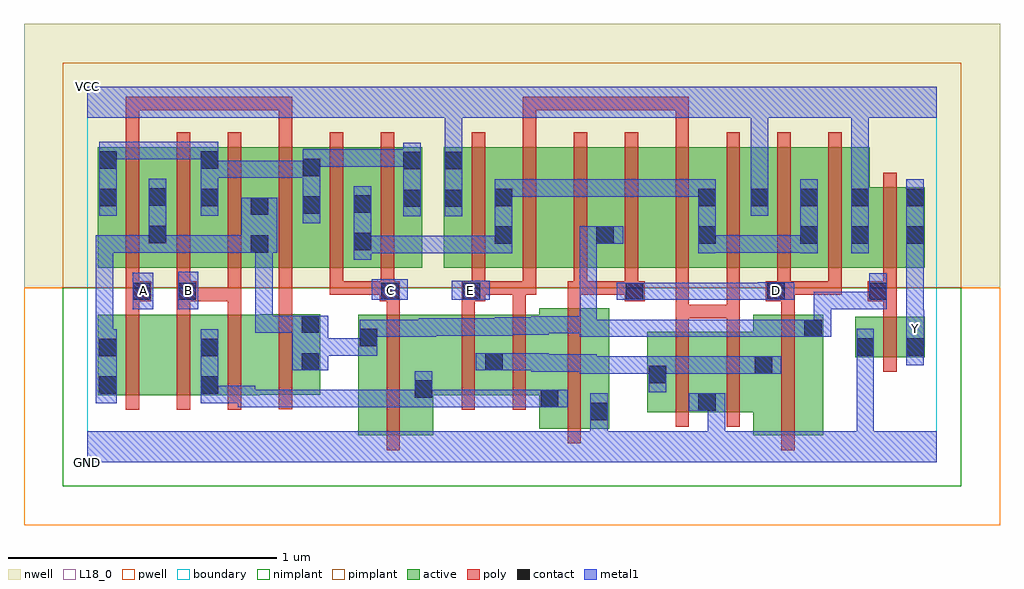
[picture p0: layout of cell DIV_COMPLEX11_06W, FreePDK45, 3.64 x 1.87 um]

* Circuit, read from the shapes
.subckt DIV_COMPLEX11_06W A B C D E GND VCC Y
M1 n1 A n2 VSUBS nfet w=0.3u l=0.05u
M2 n3 B n1 VSUBS nfet w=0.3u l=0.05u
M3 n4 B n3 VSUBS nfet w=0.3u l=0.05u
M4 n2 A n4 VSUBS nfet w=0.3u l=0.05u
M5 n3 C n2 VSUBS nfet w=0.45u l=0.05u
M6 n5 E n3 VSUBS nfet w=0.3u l=0.05u m=2
M7 GND D n3 VSUBS nfet w=0.45u l=0.05u
M8 GND E n5 VSUBS nfet w=0.3u l=0.05u m=2
M9 n2 D n5 VSUBS nfet w=0.45u l=0.05u
M10 Y n2 GND VSUBS nfet w=0.15u l=0.05u
M11 n2 A n6 n7 pfet w=0.45u l=0.05u m=2
M12 n6 B n2 n7 pfet w=0.45u l=0.05u m=2
M13 n8 C n6 n7 pfet w=0.45u l=0.05u m=2
M14 n8 E VCC n7 pfet w=0.45u l=0.05u m=2
M15 n9 E n8 n7 pfet w=0.45u l=0.05u
M16 n2 D n9 n7 pfet w=0.45u l=0.05u
M17 n10 D n2 n7 pfet w=0.45u l=0.05u
M18 n8 E n10 n7 pfet w=0.45u l=0.05u
M19 n8 D VCC n7 pfet w=0.45u l=0.05u m=2
M20 Y n2 VCC n7 pfet w=0.3u l=0.05u
.ends

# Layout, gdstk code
import gdstk
lib = gdstk.Library(unit=1e-6, precision=1e-09)
def R(c, l, rs):  # rectangles x0, y0, x1, y1
    for r in rs: c.add(gdstk.rectangle(r[:2], r[2:], *l))
def A(c, l, x, y, w, h, nx, ny, dx, dy):  # array of equal rectangles
    R(c, l, [(x+i*dx, y+j*dy, x+i*dx+w, y+j*dy+h) for i in range(nx) for j in range(ny)])
active = (1, 0)
pwell = (2, 0)
nwell = (3, 0)
nimplant = (4, 0)
pimplant = (5, 0)
poly = (9, 0)
contact = (10, 0)
metal1 = (11, 0)
L18_0 = (18, 0)
boundary = (235, 0)

div_complex11_06w = lib.new_cell('DIV_COMPLEX11_06W')
A(div_complex11_06w, active, 0.04, 0.725, 0.075, 0.45, 3, 1, 0.38, 0)
R(div_complex11_06w, active, [(1.012,0.1,1.292,0.55), (2.485,0.1,2.745,0.55), (1.687,0.125,1.947,0.575), (1.872,0.132,1.947,0.575), (1.012,0.145,1.087,0.55), (2.67,0.145,2.745,0.55), (2.09,0.187,2.35,0.487), (2.275,0.187,2.56,0.487), (2.275,0.187,2.35,0.392), (1.217,0.2,1.292,0.405), (1.687,0.2,1.762,0.405), (2.09,0.2,2.165,0.487), (2.485,0.2,2.56,0.4), (0.04,0.25,0.265,0.55), (0.04,0.25,0.115,0.55), (0.265,0.25,0.495,0.55), (0.42,0.25,0.645,0.55), (0.42,0.25,0.495,0.55), (1.217,0.25,1.555,0.55), (1.48,0.25,1.762,0.55), (0.645,0.252,0.87,0.552), (0.795,0.295,0.87,0.552), (1.48,0.295,1.555,0.412), (2.865,0.392,2.94,0.542), (2.865,0.392,3.125,0.542), (3.05,0.392,3.125,0.542), (0.04,0.725,0.3,1.175), (0.225,0.725,0.495,1.175), (0.225,0.725,0.3,1.07), (0.42,0.725,0.68,1.175), (0.605,0.725,0.875,1.175), (0.605,0.725,0.68,1.07), (0.8,0.725,1.065,1.175), (0.99,0.725,1.25,1.175), (0.99,0.725,1.065,1.07), (1.33,0.725,1.59,1.175), (1.515,0.725,1.745,1.175), (1.515,0.725,1.59,1.165), (1.745,0.725,1.97,1.175), (1.895,0.725,2.125,1.175), (1.895,0.725,1.97,1.07), (2.125,0.725,2.35,1.175), (2.275,0.725,2.35,1.167), (2.275,0.725,2.545,1.175), (2.47,0.725,2.73,1.175), (2.655,0.725,2.92,1.175), (2.655,0.725,2.73,1.167), (2.845,0.725,3.125,1.025), (2.845,0.725,2.92,1.175), (3.05,0.725,3.125,1.025), (1.175,0.852,1.25,1.175), (1.33,0.852,1.405,1.175), (2.47,0.852,2.545,1.175)])
R(div_complex11_06w, pwell, [(-0.235,-0.235,3.405,0.65)])
R(div_complex11_06w, nwell, [(-0.235,0.65,3.405,1.635)])
R(div_complex11_06w, nimplant, [(-0.09,-0.09,3.26,0.65)])
R(div_complex11_06w, pimplant, [(-0.09,0.65,3.26,1.49)])
A(div_complex11_06w, poly, 0.145, 0.195, 0.05, 0.41, 3, 1, 0.19, 0)
A(div_complex11_06w, poly, 0.145, 0.555, 0.05, 0.095, 3, 1, 0.19, 0)
A(div_complex11_06w, poly, 0.715, 0.625, 0.05, 0.095, 3, 1, 0.19, 0)
A(div_complex11_06w, poly, 1.435, 0.625, 0.05, 0.095, 4, 1, 0.19, 0)
A(div_complex11_06w, poly, 0.145, 0.67, 0.05, 0.56, 6, 1, 0.19, 0)
A(div_complex11_06w, poly, 1.435, 0.67, 0.05, 0.56, 8, 1, 0.19, 0)
R(div_complex11_06w, poly, [(1.117,0.045,1.167,0.605), (2.59,0.045,2.64,0.605), (1.792,0.07,1.842,0.63), (2.195,0.132,2.245,0.542), (2.385,0.132,2.435,0.542), (1.397,0.195,1.447,0.605), (1.587,0.195,1.637,0.605), (0.715,0.197,0.765,0.607), (2.97,0.337,3.02,0.597), (2.195,0.492,2.245,0.587), (2.385,0.492,2.435,0.587), (2.195,0.537,2.245,0.587), (2.195,0.537,2.245,0.72), (2.195,0.537,2.435,0.587), (2.385,0.537,2.435,0.587), (2.385,0.537,2.435,0.587), (2.385,0.537,2.435,0.587), (2.385,0.537,2.435,0.72), (2.97,0.547,3.02,0.65), (1.117,0.555,1.167,0.65), (1.397,0.555,1.447,0.65), (1.587,0.555,1.637,0.675), (2.59,0.555,2.64,0.65), (0.715,0.557,0.765,0.675), (1.792,0.58,1.842,0.675), (0.145,0.6,0.24,0.675), (0.335,0.6,0.41,0.675), (0.36,0.6,0.575,0.65), (0.525,0.6,0.575,0.65), (0.525,0.6,0.575,0.65), (0.525,0.6,0.575,0.65), (0.525,0.6,0.575,0.72), (1.092,0.6,1.167,0.675), (1.397,0.6,1.485,0.675), (2.005,0.6,2.08,0.675), (2.532,0.6,2.64,0.675), (2.912,0.6,3.02,0.675), (0.145,0.625,0.195,0.72), (0.335,0.625,0.385,0.72), (0.715,0.625,0.765,0.675), (0.905,0.625,0.955,0.675), (0.905,0.625,0.955,0.675), (0.905,0.625,0.955,0.675), (0.905,0.625,1.142,0.675), (1.435,0.625,1.485,0.675), (1.435,0.625,1.485,0.675), (1.435,0.625,1.637,0.675), (1.587,0.625,1.675,0.675), (1.792,0.625,1.865,0.675), (1.815,0.625,1.865,0.675), (1.815,0.625,1.865,0.675), (1.815,0.625,2.055,0.675), (2.575,0.625,2.625,0.72), (2.59,0.625,2.815,0.675), (2.765,0.625,2.815,0.72), (2.765,0.625,2.815,0.675), (2.765,0.625,2.815,0.675), (2.765,0.625,2.815,0.675), (2.97,0.625,3.02,0.72), (2.97,0.67,3.02,1.08), (0.145,1.18,0.195,1.362), (0.715,1.18,0.765,1.362), (1.625,1.18,1.675,1.362), (2.195,1.18,2.245,1.362), (0.145,1.312,0.195,1.362), (0.145,1.312,0.195,1.362), (0.145,1.312,0.195,1.362), (0.145,1.312,0.41,1.362), (0.36,1.312,0.41,1.362), (0.36,1.312,0.41,1.362), (0.36,1.312,0.41,1.362), (0.36,1.312,0.542,1.362), (0.492,1.312,0.542,1.362), (0.492,1.312,0.765,1.362), (0.715,1.312,0.765,1.362), (0.715,1.312,0.765,1.362), (0.715,1.312,0.765,1.362), (1.625,1.312,1.675,1.362), (1.625,1.312,1.675,1.362), (1.625,1.312,1.675,1.362), (1.625,1.312,1.807,1.362), (1.757,1.312,1.807,1.362), (1.757,1.312,1.997,1.362), (1.947,1.312,1.997,1.362), (1.947,1.312,1.997,1.362), (1.947,1.312,1.997,1.362), (1.947,1.312,2.245,1.362), (2.195,1.312,2.245,1.362), (2.195,1.312,2.245,1.362), (2.195,1.312,2.245,1.362)])
A(div_complex11_06w, contact, 1.52, 0.815, 0.065, 0.065, 4, 1, 0.38, 0)
R(div_complex11_06w, contact, [(1.877,0.157,1.942,0.222), (2.28,0.192,2.345,0.257), (1.692,0.205,1.757,0.27), (1.222,0.24,1.287,0.305), (0.045,0.255,0.11,0.32), (0.425,0.255,0.49,0.32), (2.095,0.295,2.16,0.36), (2.49,0.33,2.555,0.395), (0.8,0.342,0.865,0.407), (1.485,0.342,1.55,0.407), (0.045,0.395,0.11,0.46), (0.425,0.395,0.49,0.46), (2.87,0.397,2.935,0.462), (3.055,0.397,3.12,0.462), (1.017,0.432,1.082,0.497), (2.675,0.467,2.74,0.532), (0.8,0.482,0.865,0.547), (0.17,0.605,0.235,0.67), (0.34,0.605,0.405,0.67), (1.097,0.605,1.162,0.67), (1.402,0.605,1.467,0.67), (2.01,0.605,2.075,0.67), (2.537,0.605,2.602,0.67), (2.917,0.605,2.982,0.67), (0.61,0.782,0.675,0.847), (0.995,0.79,1.06,0.855), (2.85,0.815,2.915,0.88), (3.055,0.815,3.12,0.88), (0.23,0.817,0.295,0.882), (0.61,0.922,0.675,0.987), (0.805,0.927,0.87,0.992), (0.995,0.93,1.06,0.995), (1.18,0.952,1.245,1.017), (1.335,0.952,1.4,1.017), (0.045,0.955,0.11,1.02), (0.425,0.955,0.49,1.02), (1.52,0.955,1.585,1.02), (2.28,0.955,2.345,1.02), (2.475,0.955,2.54,1.02), (2.66,0.955,2.725,1.02), (2.85,0.955,2.915,1.02), (3.055,0.955,3.12,1.02), (0.23,0.957,0.295,1.022), (0.805,1.067,0.87,1.132), (1.18,1.092,1.245,1.157), (1.335,1.092,1.4,1.157), (0.045,1.095,0.11,1.16), (0.425,1.095,0.49,1.16)])
R(div_complex11_06w, metal1, [(0,0,3.17,0.115), (1.877,0.05,1.942,0.115), (1.877,0.05,1.942,0.115), (1.877,0.05,1.942,0.187), (2.315,0.05,2.38,0.115), (2.315,0.05,2.38,0.115), (2.315,0.05,2.38,0.115), (2.315,0.05,2.38,0.115), (2.315,0.05,2.38,0.257), (2.87,0.05,2.935,0.115), (2.87,0.05,2.935,0.115), (2.87,0.05,2.935,0.115), (2.87,0.05,2.935,0.115), (2.87,0.05,2.935,0.427), (1.877,0.122,1.942,0.257), (2.245,0.192,2.38,0.257), (0.562,0.205,0.832,0.27), (0.562,0.205,0.627,0.285), (0.767,0.205,0.832,0.27), (0.767,0.205,0.832,0.27), (0.767,0.205,0.832,0.27), (0.767,0.205,0.97,0.27), (0.905,0.205,0.97,0.27), (0.905,0.205,1.107,0.27), (1.042,0.205,1.107,0.27), (1.042,0.205,1.107,0.27), (1.042,0.205,1.107,0.27), (1.042,0.205,1.287,0.27), (1.222,0.205,1.287,0.27), (1.222,0.205,1.287,0.27), (1.222,0.205,1.287,0.34), (1.222,0.205,1.585,0.27), (1.52,0.205,1.585,0.27), (1.52,0.205,1.585,0.27), (1.52,0.205,1.585,0.27), (1.52,0.205,1.722,0.27), (1.657,0.205,1.722,0.27), (1.657,0.205,1.722,0.27), (1.657,0.205,1.792,0.27), (0.032,0.22,0.11,0.495), (0.425,0.22,0.49,0.495), (0.425,0.22,0.49,0.285), (0.425,0.22,0.49,0.285), (0.425,0.22,0.627,0.285), (2.095,0.26,2.16,0.395), (1.837,0.33,1.93,0.395), (1.837,0.33,1.902,0.402), (1.865,0.33,1.93,0.395), (1.865,0.33,2.155,0.395), (2.09,0.33,2.155,0.395), (2.09,0.33,2.16,0.395), (2.095,0.33,2.292,0.395), (2.227,0.33,2.292,0.395), (2.227,0.33,2.297,0.395), (2.232,0.33,2.297,0.395), (2.232,0.33,2.43,0.395), (2.365,0.33,2.43,0.395), (2.365,0.33,2.52,0.395), (2.455,0.33,2.59,0.395), (1.657,0.337,1.722,0.402), (1.657,0.337,1.722,0.402), (1.657,0.337,1.902,0.402), (1.657,0.337,1.722,0.407), (0.765,0.342,0.9,0.547), (1.45,0.342,1.585,0.407), (1.52,0.342,1.722,0.407), (2.87,0.362,2.935,0.427), (2.87,0.362,2.935,0.427), (2.87,0.362,2.935,0.497), (3.055,0.362,3.12,0.497), (0.835,0.397,0.97,0.462), (0.905,0.397,0.97,0.462), (0.905,0.397,1.082,0.462), (1.017,0.397,1.082,0.532), (0.032,0.43,0.097,0.847), (3.055,0.432,3.12,0.497), (3.055,0.432,3.122,0.567), (1.017,0.467,1.15,0.532), (1.085,0.467,1.15,0.532), (1.085,0.467,1.287,0.532), (1.222,0.467,1.287,0.532), (1.222,0.467,1.302,0.532), (1.237,0.467,1.302,0.537), (1.837,0.467,2.155,0.532), (1.837,0.467,1.902,0.545), (2.09,0.467,2.155,0.532), (2.09,0.467,2.155,0.532), (2.09,0.467,2.155,0.532), (2.09,0.467,2.292,0.532), (2.227,0.467,2.292,0.532), (2.227,0.467,2.297,0.532), (2.232,0.467,2.297,0.532), (2.232,0.467,2.43,0.532), (2.365,0.467,2.43,0.532), (2.365,0.467,2.567,0.532), (2.502,0.467,2.567,0.532), (2.502,0.467,2.567,0.532), (2.502,0.467,2.567,0.532), (2.502,0.467,2.705,0.532), (2.64,0.467,2.775,0.532), (2.71,0.467,2.775,0.635), (1.237,0.472,1.585,0.537), (1.52,0.472,1.585,0.537), (1.52,0.472,1.585,0.537), (1.52,0.472,1.585,0.54), (1.52,0.475,1.722,0.54), (1.657,0.475,1.722,0.545), (1.657,0.48,1.722,0.545), (1.657,0.48,1.722,0.545), (1.657,0.48,1.902,0.545), (1.837,0.48,1.902,0.545), (1.837,0.48,1.902,0.545), (1.837,0.48,1.902,0.545), (1.837,0.48,1.902,0.545), (1.837,0.48,1.902,0.88), (0.627,0.482,0.692,0.547), (0.627,0.482,0.83,0.547), (0.627,0.482,0.692,0.847), (0.765,0.482,0.83,0.547), (0.765,0.482,0.83,0.547), (3.055,0.502,3.12,0.845), (0.17,0.57,0.247,0.707), (0.34,0.57,0.415,0.71), (2.71,0.57,2.775,0.635), (2.71,0.57,2.775,0.635), (2.71,0.57,2.775,0.635), (2.71,0.57,2.982,0.635), (2.917,0.57,2.982,0.635), (2.917,0.57,2.982,0.635), (2.917,0.57,2.982,0.705), (1.062,0.605,1.197,0.682), (1.36,0.605,1.502,0.677), (1.975,0.605,2.11,0.67), (2.045,0.605,2.11,0.67), (2.045,0.605,2.11,0.67), (2.045,0.605,2.292,0.67), (2.227,0.605,2.292,0.67), (2.227,0.605,2.297,0.67), (2.232,0.605,2.297,0.67), (2.232,0.605,2.43,0.67), (2.365,0.605,2.43,0.67), (2.365,0.605,2.567,0.67), (2.502,0.605,2.567,0.67), (2.502,0.605,2.567,0.67), (2.502,0.605,2.637,0.672), (0.995,0.755,1.06,1.03), (0.995,0.78,1.15,0.845), (1.085,0.78,1.15,0.845), (1.085,0.78,1.287,0.845), (1.222,0.78,1.287,0.845), (1.222,0.78,1.287,0.845), (1.222,0.78,1.287,0.845), (1.222,0.78,1.585,0.845), (1.52,0.78,1.585,1.055), (1.52,0.78,1.585,0.845), (1.52,0.78,1.585,0.845), (2.28,0.78,2.345,1.055), (2.66,0.78,2.725,1.055), (2.85,0.78,2.915,1.055), (3.055,0.78,3.12,1.055), (0.032,0.782,0.097,0.847), (0.032,0.782,0.097,0.847), (0.032,0.782,0.097,0.847), (0.032,0.782,0.097,0.847), (0.032,0.782,0.097,0.847), (0.032,0.782,0.295,0.847), (0.23,0.782,0.295,1.057), (0.23,0.782,0.295,0.847), (0.23,0.782,0.295,0.847), (0.23,0.782,0.49,0.847), (0.425,0.782,0.49,0.847), (0.425,0.782,0.64,0.847), (0.575,0.782,0.64,0.847), (0.575,0.782,0.64,0.847), (0.575,0.782,0.71,0.987), (0.627,0.782,0.692,0.847), (0.627,0.782,0.692,0.847), (2.28,0.782,2.43,0.847), (2.365,0.782,2.43,0.847), (2.365,0.782,2.567,0.847), (2.502,0.782,2.567,0.847), (2.502,0.782,2.567,0.847), (2.502,0.782,2.567,0.847), (2.502,0.782,2.725,0.847), (1.837,0.815,2,0.88), (0.805,0.892,0.87,1.167), (1.18,0.917,1.245,1.192), (1.335,0.917,1.4,1.192), (0.045,0.92,0.11,1.195), (0.425,0.92,0.49,1.195), (2.475,0.92,2.54,1.055), (1.52,0.99,1.722,1.055), (1.657,0.99,1.722,1.055), (1.657,0.99,1.722,1.055), (1.657,0.99,1.722,1.055), (1.657,0.99,1.86,1.055), (1.795,0.99,1.86,1.055), (1.795,0.99,1.86,1.055), (1.795,0.99,1.86,1.055), (1.795,0.99,2.155,1.055), (2.09,0.99,2.155,1.055), (2.09,0.99,2.155,1.055), (2.09,0.99,2.155,1.055), (2.09,0.99,2.292,1.055), (2.227,0.99,2.292,1.055), (2.227,0.99,2.345,1.055), (2.475,0.99,2.54,1.35), (2.85,0.99,2.915,1.35), (0.425,1.06,0.627,1.125), (0.562,1.06,0.627,1.125), (0.562,1.06,0.627,1.125), (0.562,1.06,0.627,1.125), (0.562,1.06,0.777,1.125), (0.712,1.06,0.777,1.125), (0.712,1.06,0.87,1.125), (0.805,1.102,0.97,1.167), (0.905,1.102,0.97,1.167), (0.905,1.102,1.107,1.167), (1.042,1.102,1.107,1.167), (1.042,1.102,1.107,1.167), (1.042,1.102,1.107,1.167), (1.042,1.102,1.245,1.167), (1.335,1.127,1.4,1.192), (1.335,1.127,1.4,1.192), (1.335,1.127,1.4,1.35), (0.045,1.13,0.11,1.195), (0.045,1.13,0.11,1.195), (0.045,1.13,0.352,1.195), (0.287,1.13,0.352,1.195), (0.287,1.13,0.352,1.195), (0.287,1.13,0.352,1.195), (0.287,1.13,0.49,1.195), (0,1.285,3.17,1.4), (2.475,1.285,2.54,1.35), (2.475,1.285,2.54,1.35), (2.85,1.285,2.915,1.35), (2.85,1.285,2.915,1.35)])
R(div_complex11_06w, L18_0, [(0,0,3.17,0.115), (1.877,0.05,1.942,0.115), (1.877,0.05,1.942,0.115), (1.877,0.05,1.942,0.187), (2.315,0.05,2.38,0.115), (2.315,0.05,2.38,0.115), (2.315,0.05,2.38,0.115), (2.315,0.05,2.38,0.115), (2.315,0.05,2.38,0.257), (2.87,0.05,2.935,0.115), (2.87,0.05,2.935,0.115), (2.87,0.05,2.935,0.115), (2.87,0.05,2.935,0.115), (2.87,0.05,2.935,0.427), (1.877,0.122,1.942,0.257), (2.245,0.192,2.38,0.257), (2.87,0.362,2.935,0.427), (2.87,0.362,2.935,0.427), (2.87,0.362,2.935,0.497), (3.055,0.362,3.12,0.497), (3.055,0.432,3.12,0.497), (3.055,0.432,3.122,0.567), (3.057,0.467,3.122,0.532), (3.055,0.502,3.12,0.845), (0.17,0.57,0.247,0.707), (0.34,0.57,0.415,0.71), (1.062,0.605,1.197,0.682), (1.36,0.605,1.502,0.677), (1.975,0.605,2.11,0.67), (2.045,0.605,2.11,0.67), (2.045,0.605,2.11,0.67), (2.045,0.605,2.292,0.67), (2.227,0.605,2.292,0.67), (2.227,0.605,2.297,0.67), (2.232,0.605,2.297,0.67), (2.232,0.605,2.43,0.67), (2.365,0.605,2.43,0.67), (2.365,0.605,2.567,0.67), (2.502,0.605,2.567,0.67), (2.502,0.605,2.567,0.67), (2.502,0.605,2.637,0.672), (0.177,0.607,0.242,0.672), (0.347,0.607,0.412,0.672), (1.097,0.607,1.162,0.672), (1.397,0.607,1.462,0.672), (2.537,0.607,2.602,0.672), (2.85,0.78,2.915,1.055), (3.055,0.78,3.12,1.055), (1.335,0.917,1.4,1.192), (2.475,0.92,2.54,1.055), (2.475,0.99,2.54,1.35), (2.85,0.99,2.915,1.35), (1.335,1.127,1.4,1.192), (1.335,1.127,1.4,1.192), (1.335,1.127,1.4,1.35), (0,1.285,3.17,1.4), (2.475,1.285,2.54,1.35), (2.475,1.285,2.54,1.35), (2.85,1.285,2.915,1.35), (2.85,1.285,2.915,1.35)])
R(div_complex11_06w, boundary, [(0,0,3.17,1.4)])
div_complex11_06w.add(gdstk.Label('A', (0.21,0.64), layer=11, texttype=0))
div_complex11_06w.add(gdstk.Label('B', (0.38,0.64), layer=11, texttype=0))
div_complex11_06w.add(gdstk.Label('C', (1.13,0.64), layer=11, texttype=0))
div_complex11_06w.add(gdstk.Label('D', (2.57,0.64), layer=11, texttype=0))
div_complex11_06w.add(gdstk.Label('E', (1.43,0.64), layer=11, texttype=0))
div_complex11_06w.add(gdstk.Label('Y', (3.09,0.5), layer=11, texttype=0))
div_complex11_06w.add(gdstk.Label('VCC', (0,1.4), layer=11, texttype=0))
div_complex11_06w.add(gdstk.Label('GND', (0,0), layer=11, texttype=0))

lib.write_gds('DIV_COMPLEX11_06W.gds')
